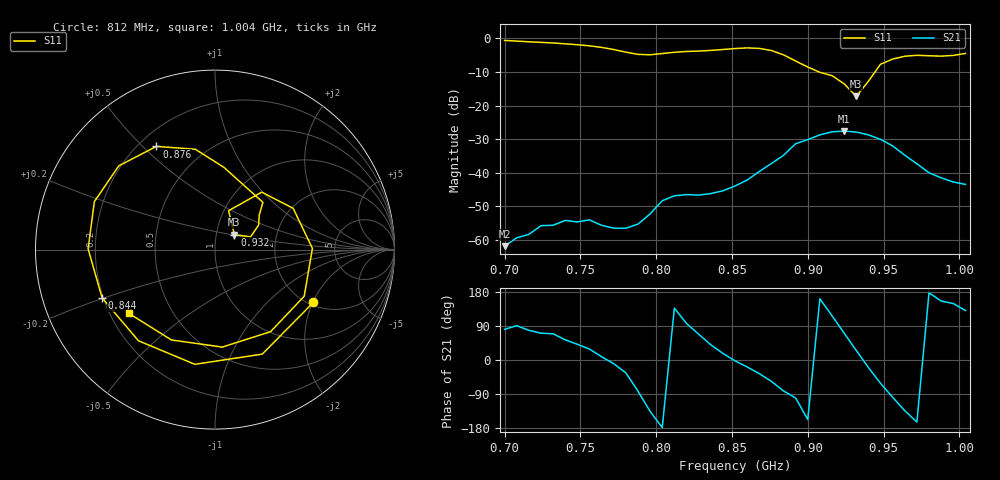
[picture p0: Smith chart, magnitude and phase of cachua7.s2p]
# Hz S RI R 50
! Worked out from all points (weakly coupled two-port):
!   39 points, 700 MHz to 1.004 GHz, reference 50 ohm
!   highest |S21| = -27.63 dB at 924 MHz (marker M1); lowest = -62.0 dB at 700 MHz (marker M2)
!   lowest |S11| = -17.3 dB at 932 MHz (marker M3), VSWR 1.32, Z = 61.1 + j10.5 ohm
!   |S11| at or under -10 dB: 907.5 MHz to 944.4 MHz (36.87 MHz wide, 3.98 % of centre)
!   S12 and S22 are empty: the file has one direction only
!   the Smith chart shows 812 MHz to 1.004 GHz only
!   S11 on the Smith chart (normalised r, x): 812 MHz: 2.11, -2.03; 844 MHz: 0.20, -0.20; 876 MHz: 0.27, +0.55; 932 MHz: 1.22, +0.21; 1.004 GHz: 0.28, -0.31
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7e8  0.7683 0.5302  0.000126 0.000789  0 0  0 0
7.24e8  0.8339 -0.2613  0.000531 0.00152  0 0  0 0
7.4e8  0.4451 -0.7022  0.00116 0.00155  0 0  0 0
7.56e8  -0.195 -0.7514  0.00173 0.000949  0 0  0 0
7.72e8  -0.655 -0.1946  0.00146 -0.00025  0 0  0 0
7.8e8  -0.5827 0.2253  0.00122 -0.000827  0 0  0 0
7.88e8  -0.2349 0.5294  0.00023 -0.00169  0 0  0 0
7.96e8  0.2497 0.5128  -0.00174 -0.00169  0 0  0 0
8.04e8  0.5737 0.1611  -0.0038 -0.000127  0 0  0 0
8.12e8  0.5486 -0.2936  -0.00328 0.00308  0 0  0 0
8.28e8  -0.1123 -0.6391  0.00172 0.00428  0 0  0 0
8.44e8  -0.6287 -0.2697  0.0051 0.0016  0 0  0 0
8.52e8  -0.707 0.00427  0.0063 -0.000245  0 0  0 0
8.76e8  -0.3268 0.5749  0.00756 -0.0113  0 0  0 0
9e8  0.2672 0.2632  -0.0286 -0.0121  0 0  0 0
9.08e8  0.2463 0.1926  -0.0346 0.0116  0 0  0 0
9.24e8  0.1984 0.0711  0.0135 0.0393  0 0  0 0
9.32e8  0.1076 0.0841  0.0364 0.0172  0 0  0 0
9.56e8  0.4356 0.2301  -0.00366 -0.0247  0 0  0 0
9.64e8  0.5428 0.00653  -0.0125 -0.0131  0 0  0 0
9.8e8  0.3096 -0.4573  -0.00992 0.000478  0 0  0 0
1.004e9  -0.4804 -0.355  -0.00434 0.00506  0 0  0 0
